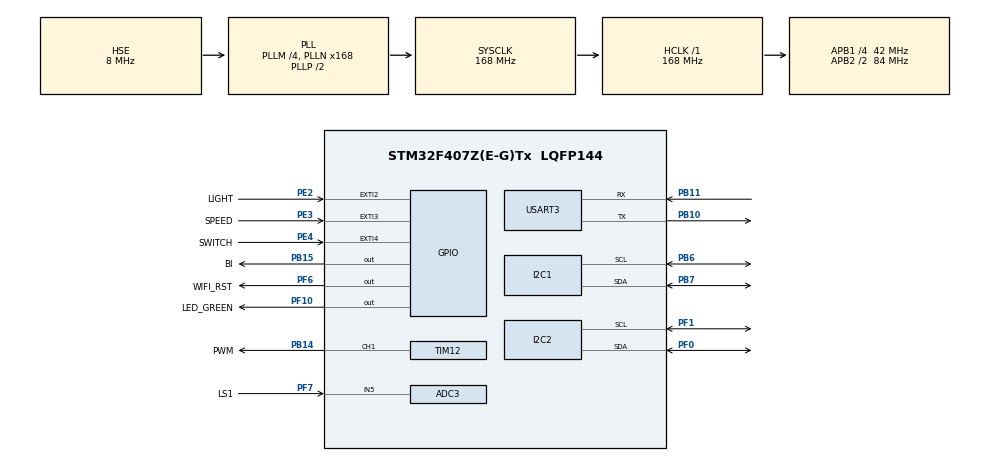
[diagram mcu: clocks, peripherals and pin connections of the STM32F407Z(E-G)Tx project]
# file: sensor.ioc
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ADC3.Channel-1\#ChannelRegularConversion=ADC_CHANNEL_5
ADC3.NbrOfConversionFlag=1
ADC3.Rank-1\#ChannelRegularConversion=1
ADC3.SamplingTime-1\#ChannelRegularConversion=ADC_SAMPLETIME_3CYCLES
Dma.Request0=USART3_TX
Dma.Request1=USART3_RX
Dma.USART3_RX.1.Direction=DMA_PERIPH_TO_MEMORY
Dma.USART3_RX.1.FIFOMode=DMA_FIFOMODE_DISABLE
Dma.USART3_RX.1.Instance=DMA1_Stream1
Dma.USART3_RX.1.MemDataAlignment=DMA_MDATAALIGN_BYTE
Dma.USART3_RX.1.MemInc=DMA_MINC_ENABLE
Dma.USART3_RX.1.Mode=DMA_NORMAL
Dma.USART3_RX.1.PeriphDataAlignment=DMA_PDATAALIGN_BYTE
Dma.USART3_RX.1.PeriphInc=DMA_PINC_DISABLE
Dma.USART3_RX.1.Priority=DMA_PRIORITY_LOW
Dma.USART3_TX.0.Direction=DMA_MEMORY_TO_PERIPH
Dma.USART3_TX.0.FIFOMode=DMA_FIFOMODE_DISABLE
Dma.USART3_TX.0.Instance=DMA1_Stream3
Dma.USART3_TX.0.MemDataAlignment=DMA_MDATAALIGN_BYTE
Dma.USART3_TX.0.MemInc=DMA_MINC_ENABLE
Dma.USART3_TX.0.Mode=DMA_NORMAL
Dma.USART3_TX.0.PeriphDataAlignment=DMA_PDATAALIGN_BYTE
Dma.USART3_TX.0.PeriphInc=DMA_PINC_DISABLE
Dma.USART3_TX.0.Priority=DMA_PRIORITY_LOW
FREERTOS.Tasks01=defaultTask,24,128,StartDefaultTask,Default,NULL,Dynamic,NULL,NULL
FREERTOS.configENABLE_FPU=1
I2C1.I2C_Mode=I2C_Fast
Mcu.Family=STM32F4
Mcu.Name=STM32F407Z(E-G)Tx
Mcu.Package=LQFP144
NVIC.DMA1_Stream1_IRQn=true\:5\:0\:false\:false\:true\:true\:false\:true\:true
NVIC.DMA1_Stream3_IRQn=true\:5\:0\:false\:false\:true\:true\:false\:true\:true
NVIC.EXTI2_IRQn=true\:5\:0\:true\:false\:true\:true\:true\:true\:true
NVIC.EXTI3_IRQn=true\:5\:0\:true\:false\:true\:true\:true\:true\:true
NVIC.EXTI4_IRQn=true\:5\:0\:true\:false\:true\:true\:true\:true\:true
NVIC.PriorityGroup=NVIC_PRIORITYGROUP_4
NVIC.TIM6_DAC_IRQn=true\:15\:0\:true\:false\:true\:false\:false\:true\:true
NVIC.TimeBase=TIM6_DAC_IRQn
NVIC.TimeBaseIP=TIM6
NVIC.USART3_IRQn=true\:5\:0\:false\:false\:true\:true\:true\:true\:true
PA13.Mode=Serial_Wire
PA13.Signal=SYS_JTMS-SWDIO
PA14.Mode=Serial_Wire
PA14.Signal=SYS_JTCK-SWCLK
PF6.GPIO_Label=WIFI_RST
PF6.GPIO_Speed=GPIO_SPEED_FREQ_MEDIUM
PF6.PinState=GPIO_PIN_SET
PF6.Signal=GPIO_Output
PB10.Mode=Asynchronous
PB10.Signal=USART3_TX
PB11.Mode=Asynchronous
PB11.Signal=USART3_RX
PB14.GPIO_Label=PWM
PB14.GPIO_PuPd=GPIO_PULLDOWN
PB14.Signal=S_TIM12_CH1
PB15.GPIO_Label=BI
PB15.GPIO_Speed=GPIO_SPEED_FREQ_HIGH
PB15.PinState=GPIO_PIN_RESET
PB15.Signal=GPIO_Output
PB6.Mode=I2C
PB6.Signal=I2C1_SCL
PB7.Mode=I2C
PB7.Signal=I2C1_SDA
PC14-OSC32_IN.Mode=LSE-External-Oscillator
PC14-OSC32_IN.Signal=RCC_OSC32_IN
PC15-OSC32_OUT.Mode=LSE-External-Oscillator
PC15-OSC32_OUT.Signal=RCC_OSC32_OUT
PE2.GPIO_Label=LIGHT
PE2.GPIO_ModeDefaultEXTI=GPIO_MODE_IT_FALLING
PE2.GPIO_PuPd=GPIO_PULLUP
PE2.Signal=GPXTI2
PE3.GPIO_Label=SPEED
PE3.GPIO_ModeDefaultEXTI=GPIO_MODE_IT_FALLING
PE3.GPIO_PuPd=GPIO_PULLUP
PE3.Signal=GPXTI3
PE4.GPIO_Label=SWITCH
PE4.GPIO_ModeDefaultEXTI=GPIO_MODE_IT_FALLING
PE4.GPIO_PuPd=GPIO_PULLUP
PE4.Signal=GPXTI4
PF0.Mode=I2C
PF0.Signal=I2C2_SDA
PF1.Mode=I2C
PF1.Signal=I2C2_SCL
PF10.GPIO_Label=LED_GREEN
PF10.GPIO_Speed=GPIO_SPEED_FREQ_MEDIUM
PF10.PinState=GPIO_PIN_SET
PF10.Signal=GPIO_Output
PF7.GPIO_Label=LS1
PF7.Mode=IN5
PF7.Signal=ADC3_IN5
PH0-OSC_IN.Mode=HSE-External-Oscillator
PH0-OSC_IN.Signal=RCC_OSC_IN
PH1-OSC_OUT.Mode=HSE-External-Oscillator
PH1-OSC_OUT.Signal=RCC_OSC_OUT
ProjectManager.HeapSize=0x200
ProjectManager.StackSize=0x400
ProjectManager.TargetToolchain=CMake
RCC.48MHZClocksFreq_Value=84000000
RCC.AHBFreq_Value=168000000
RCC.APB1CLKDivider=RCC_HCLK_DIV4
RCC.APB1Freq_Value=42000000
RCC.APB1TimFreq_Value=84000000
RCC.APB2CLKDivider=RCC_HCLK_DIV2
RCC.APB2Freq_Value=84000000
RCC.APB2TimFreq_Value=168000000
RCC.CortexFreq_Value=168000000
RCC.HCLKFreq_Value=168000000
RCC.HSE_VALUE=8000000
RCC.HSI_VALUE=16000000
RCC.PLLM=4
RCC.PLLN=168
RCC.PLLSourceVirtual=RCC_PLLSOURCE_HSE
RCC.SYSCLKFreq_VALUE=168000000
RCC.SYSCLKSource=RCC_SYSCLKSOURCE_PLLCLK
RCC.VCOOutputFreq_Value=336000000
SH.S_TIM12_CH1.0=TIM12_CH1,PWM Generation1 CH1
TIM12.Channel-PWM\ Generation1\ CH1=TIM_CHANNEL_1
TIM12.Period=4199
USART3.VirtualMode=VM_ASYNC
VP_FREERTOS_VS_CMSIS_V2.Mode=CMSIS_V2
VP_SYS_VS_tim6.Mode=TIM6
VP_TIM12_VS_ClockSourceINT.Mode=Internal
board=custom

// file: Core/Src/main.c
/* USER CODE BEGIN Header */
/**
  ******************************************************************************
  * @file           : main.c
  * @brief          : Main program body
  ******************************************************************************
  * @attention
  *
  * Copyright (c) 2026 STMicroelectronics.
  * All rights reserved.
  *
  * This software is licensed under terms that can be found in the LICENSE file
  * in the root directory of this software component.
  * If no LICENSE file comes with this software, it is provided AS-IS.
  *
  ******************************************************************************
  */
/* USER CODE END Header */
#include "main.h"
#include "cmsis_os.h"
#include "adc.h"
#include "dma.h"
#include "i2c.h"
#include "tim.h"
#include "usart.h"
#include "gpio.h"

/* USER CODE BEGIN Includes */
#include "app_entry.h"
/* USER CODE END Includes */

void SystemClock_Config(void);
void MX_FREERTOS_Init(void);

/* USER CODE BEGIN 0 */
/* 按键消抖时间窗口 (ms) */
#define DEBOUNCE_MS  200U

/* 各按键独立防抖计时器（仅 ISR 访问） */
static uint32_t s_last_tick_switch = 0;
static uint32_t s_last_tick_speed  = 0;
static uint32_t s_last_tick_light  = 0;
/* USER CODE END 0 */

int main(void)
{

  /* MCU Configuration--------------------------------------------------------*/

  /* Reset of all peripherals, Initializes the Flash interface and the Systick. */
  HAL_Init();

  /* Configure the system clock */
  SystemClock_Config();

  /* Initialize all configured peripherals */
  MX_GPIO_Init();
  MX_DMA_Init();
  MX_I2C1_Init();
  MX_I2C2_Init();
  MX_ADC3_Init();
  MX_TIM12_Init();
  MX_USART3_UART_Init();
  /* USER CODE BEGIN 2 */
  /* 点亮绿色 LED（低电平点亮） */
  HAL_GPIO_WritePin(LED_GREEN_GPIO_Port, LED_GREEN_Pin, GPIO_PIN_RESET);

  /* 注意：传感器/OLED/风扇的初始化在 App_Entry() 中完成 */
  /* USER CODE END 2 */

  /* Init scheduler */
  osKernelInitialize();  /* Call init function for freertos objects (in cmsis_os2.c) */
  MX_FREERTOS_Init();

  /* Start scheduler */
  osKernelStart();

  /* We should never get here as control is now taken by the scheduler */

  /* Infinite loop */
  while (1)
  {

    /* USER CODE BEGIN 3 */
    /* 调度器接管后永远不会执行到这里。所有业务逻辑已迁移到 RTOS 任务中。 */
  }
  /* USER CODE END 3 */
}

void SystemClock_Config(void)
{
  RCC_OscInitTypeDef RCC_OscInitStruct = {0};
  RCC_ClkInitTypeDef RCC_ClkInitStruct = {0};

  /** Configure the main internal regulator output voltage
  */
  __HAL_RCC_PWR_CLK_ENABLE();
  __HAL_PWR_VOLTAGESCALING_CONFIG(PWR_REGULATOR_VOLTAGE_SCALE1);

  /** Initializes the RCC Oscillators according to the specified parameters
  * in the RCC_OscInitTypeDef structure.
  */
  RCC_OscInitStruct.OscillatorType = RCC_OSCILLATORTYPE_HSE;
  RCC_OscInitStruct.HSEState = RCC_HSE_ON;
  RCC_OscInitStruct.PLL.PLLState = RCC_PLL_ON;
  RCC_OscInitStruct.PLL.PLLSource = RCC_PLLSOURCE_HSE;
  RCC_OscInitStruct.PLL.PLLM = 4;
  RCC_OscInitStruct.PLL.PLLN = 168;
  RCC_OscInitStruct.PLL.PLLP = RCC_PLLP_DIV2;
  RCC_OscInitStruct.PLL.PLLQ = 4;
  if (HAL_RCC_OscConfig(&RCC_OscInitStruct) != HAL_OK)
  {
    Error_Handler();
  }

  /** Initializes the CPU, AHB and APB buses clocks
  */
  RCC_ClkInitStruct.ClockType = RCC_CLOCKTYPE_HCLK|RCC_CLOCKTYPE_SYSCLK
                              |RCC_CLOCKTYPE_PCLK1|RCC_CLOCKTYPE_PCLK2;
  RCC_ClkInitStruct.SYSCLKSource = RCC_SYSCLKSOURCE_PLLCLK;
  RCC_ClkInitStruct.AHBCLKDivider = RCC_SYSCLK_DIV1;
  RCC_ClkInitStruct.APB1CLKDivider = RCC_HCLK_DIV4;
  RCC_ClkInitStruct.APB2CLKDivider = RCC_HCLK_DIV2;

  if (HAL_RCC_ClockConfig(&RCC_ClkInitStruct, FLASH_LATENCY_5) != HAL_OK)
  {
    Error_Handler();
  }
}

/* USER CODE BEGIN 4 */
/**
 * @brief EXTI 中断回调：消抖后把按键事件推入消息队列
 * @note  ISR 上下文只做两件事：时间窗消抖 + 入队。
 *        状态机、PWM、OLED 等耗时操作全部在 FanCtrlTask 中完成。
 */
void HAL_GPIO_EXTI_Callback(uint16_t GPIO_Pin)
{
    uint32_t now = HAL_GetTick();

    /* ---- SWITCH 按键 ---- */
    if (GPIO_Pin == SWITCH_Pin)
    {
        if (now - s_last_tick_switch < DEBOUNCE_MS) return;
        s_last_tick_switch = now;
        App_NotifyBtnFromISR(BTN_EVT_SWITCH);
    }

    /* ---- SPEED 按键 ---- */
    if (GPIO_Pin == SPEED_Pin)
    {
        if (now - s_last_tick_speed < DEBOUNCE_MS) return;
        s_last_tick_speed = now;
        App_NotifyBtnFromISR(BTN_EVT_SPEED);
    }

    /* ---- LIGHT 按键 ---- */
    if (GPIO_Pin == LIGHT_Pin)
    {
        if (now - s_last_tick_light < DEBOUNCE_MS) return;
        s_last_tick_light = now;
        App_NotifyBtnFromISR(BTN_EVT_LIGHT);
    }
}
/* USER CODE END 4 */

void HAL_TIM_PeriodElapsedCallback(TIM_HandleTypeDef *htim)
{
  if (htim->Instance == TIM6)
  {
    HAL_IncTick();
  }
}

void Error_Handler(void)
{
  __disable_irq();
  while (1)
  {
  }
}

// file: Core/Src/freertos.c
/* USER CODE BEGIN Header */
/**
  ******************************************************************************
  * File Name          : freertos.c
  * Description        : Code for freertos applications
  ******************************************************************************
  * @attention
  *
  * Copyright (c) 2026 STMicroelectronics.
  * All rights reserved.
  *
  * This software is licensed under terms that can be found in the LICENSE file
  * in the root directory of this software component.
  * If no LICENSE file comes with this software, it is provided AS-IS.
  *
  ******************************************************************************
  */
/* USER CODE END Header */

#include "FreeRTOS.h"
#include "task.h"
#include "main.h"
#include "cmsis_os.h"

/* USER CODE BEGIN Includes */
#include "app_entry.h"
/* USER CODE END Includes */

/* Definitions for defaultTask */
osThreadId_t defaultTaskHandle;
const osThreadAttr_t defaultTask_attributes = {
  .name = "defaultTask",
  .stack_size = 128 * 4,
  .priority = (osPriority_t) osPriorityNormal,
};

/* AppInitTask 属性：BSP 初始化调用链较深（OLED 帧发送/浮点计算），栈给足余量 */
static const osThreadAttr_t app_init_attr = {
  .name = "app_init",
  .stack_size = 1024 * 4,
  .priority = (osPriority_t) osPriorityNormal,
};

void StartDefaultTask(void *argument);
static void AppInitTask(void *argument);

void MX_FREERTOS_Init(void); /* (MISRA C 2004 rule 8.1) */

void MX_FREERTOS_Init(void) {
  /* USER CODE BEGIN Init */
  /* 注意：App_Entry() 不能在调度器启动前调用！
   * 根因：FreeRTOS 的 uxCriticalNesting 毒值(0xaaaaaaaa)只在 xPortStartScheduler
   * 里初始化为 0。启动前调用 osMutexNew 等 API 会进/出临界区，但嵌套计数
   * 永远不为 0 → BASEPRI 永久残留 0x50 → 屏蔽优先级≥5 的中断（含 TIM6 HAL
   * 时基）→ uwTick 冻结 → 阻塞 HAL API（HAL_Delay/I2C 超时）死循环。
   * 因此改为在 AppInitTask（调度器启动后）中调用。 */
  /* USER CODE END Init */

  /* Create the thread(s) */
  /* creation of defaultTask */
  defaultTaskHandle = osThreadNew(StartDefaultTask, NULL, &defaultTask_attributes);

  /* USER CODE BEGIN RTOS_THREADS */
  /* 应用初始化任务：调度器启动后首个用户任务，执行完 App_Entry 后退出。
   * 放在任务上下文里的原因见 MX_FREERTOS_Init 中的注释（BASEPRI 残留问题）。 */
  osThreadNew(AppInitTask, NULL, &app_init_attr);
  /* USER CODE END RTOS_THREADS */

}

/* ============ 应用初始化任务（用户代码） ============ */

/**
 * @brief  应用初始化任务：调度器启动后执行 App_Entry
 * @note   执行完初始化（服务层/BSP/队列/应用任务创建）后自动退出
 */
static void AppInitTask(void *argument)
{
    (void)argument;

    App_Entry();

    /* 初始化完成，任务使命结束 */
    osThreadExit();
}

void StartDefaultTask(void *argument)
{
  for(;;)
  {
    osDelay(1);
  }
}
